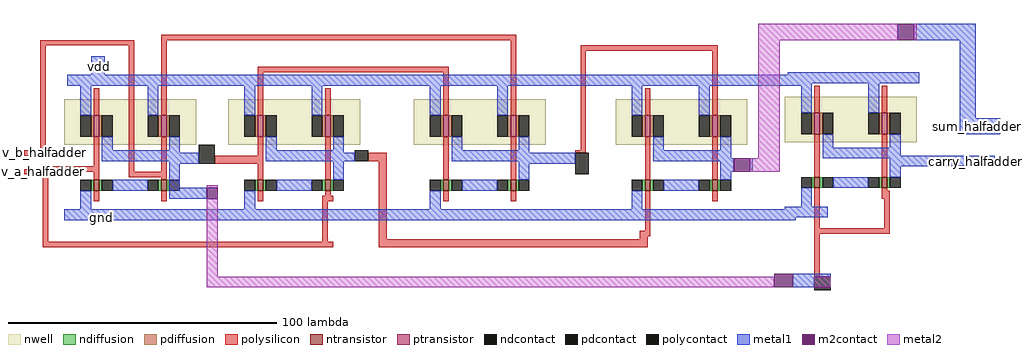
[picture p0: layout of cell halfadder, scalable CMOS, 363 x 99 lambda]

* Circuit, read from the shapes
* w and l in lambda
.subckt halfadder carry_halfadder gnd sum_halfadder v_a_halfadder v_b_halfadder vdd
M1 n1 v_a_halfadder gnd VSUBS nfet w=4 l=2
M2 nand_0/v_out_nand v_b_halfadder n1 VSUBS nfet w=4 l=2
M3 n2 nand_0/v_out_nand gnd VSUBS nfet w=4 l=2
M4 nand_1/v_out_nand v_a_halfadder n2 VSUBS nfet w=4 l=2
M5 n3 nand_0/v_out_nand gnd VSUBS nfet w=4 l=2
M6 nand_2/v_out_nand v_b_halfadder n3 VSUBS nfet w=4 l=2
M7 n4 nand_1/v_out_nand gnd VSUBS nfet w=4 l=2
M8 sum_halfadder nand_2/v_out_nand n4 VSUBS nfet w=4 l=2
M9 n5 nand_0/v_out_nand gnd VSUBS nfet w=4 l=2
M10 carry_halfadder nand_0/v_out_nand n5 VSUBS nfet w=4 l=2
M11 nand_0/v_out_nand v_a_halfadder vdd n6 pfet w=8 l=2
M12 nand_0/v_out_nand v_b_halfadder vdd n6 pfet w=8 l=2
M13 nand_1/v_out_nand nand_0/v_out_nand vdd n7 pfet w=8 l=2
M14 nand_1/v_out_nand v_a_halfadder vdd n7 pfet w=8 l=2
M15 nand_2/v_out_nand nand_0/v_out_nand vdd n8 pfet w=8 l=2
M16 nand_2/v_out_nand v_b_halfadder vdd n8 pfet w=8 l=2
M17 sum_halfadder nand_1/v_out_nand vdd n9 pfet w=8 l=2
M18 sum_halfadder nand_2/v_out_nand vdd n9 pfet w=8 l=2
M19 carry_halfadder nand_0/v_out_nand vdd n10 pfet w=8 l=2 m=2
.ends

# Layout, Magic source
magic
tech scmos
<< polysilicon >>
rect 25 72 157 74
rect -20 70 15 72
rect -20 31 -18 70
rect -26 29 -18 31
rect -19 24 2 25
rect -26 23 2 24
rect 13 23 15 70
rect 25 51 27 72
rect 61 60 132 62
rect 61 52 63 60
rect 130 52 132 60
rect 155 52 157 72
rect 181 68 232 70
rect 181 31 183 68
rect 230 52 232 68
rect 45 26 62 29
rect 179 30 183 31
rect 102 27 109 30
rect -26 22 -17 23
rect -19 -3 -17 22
rect 13 21 27 23
rect 85 12 89 14
rect 85 -3 87 12
rect 106 -2 109 27
rect 205 1 207 14
rect 203 -1 207 1
rect 268 2 270 16
rect 294 2 296 16
rect 268 0 296 2
rect 203 -2 206 -1
rect -19 -5 89 -3
rect 106 -5 206 -2
rect 268 -16 270 0
<< metal1 >>
rect 305 72 328 78
rect -1 56 4 66
rect 35 55 125 59
rect 165 55 201 59
rect 239 55 265 59
rect 322 43 328 72
rect 322 37 337 43
rect 29 26 39 30
rect 90 27 97 30
rect 161 26 179 30
rect 28 17 32 24
rect 235 23 238 28
rect 244 23 245 28
rect 297 25 335 29
rect 28 13 42 17
rect 1 5 261 9
rect 260 -16 274 -15
rect 260 -20 268 -16
<< metal2 >>
rect 247 72 299 78
rect 305 72 306 78
rect 247 28 255 72
rect 244 23 255 28
rect 42 17 46 18
rect 42 -16 46 13
rect 42 -20 253 -16
rect 268 -20 274 -16
<< polycontact >>
rect 39 26 45 33
rect 97 27 102 31
rect 179 22 184 30
rect 268 -21 274 -16
<< m2contact >>
rect 299 72 305 78
rect 238 23 244 28
rect 42 13 46 17
rect 253 -20 260 -15
use nand  nand_0
transform 1 0 -11 0 1 30
box 0 -25 50 29
use nand  nand_1
transform 1 0 50 0 1 30
box 0 -25 50 29
use nand  nand_2
transform 1 0 119 0 1 30
box 0 -25 50 29
use nand  nand_3
transform 1 0 194 0 1 30
box 0 -25 50 29
use nand  nand_4
transform 1 0 257 0 1 31
box 0 -25 50 29
<< labels >>
rlabel metal1 2 62 2 62 5 vdd
rlabel metal1 3 6 3 6 1 gnd
rlabel metal1 331 40 331 40 1 sum_halfadder
rlabel metal1 330 27 330 27 1 carry_halfadder
rlabel polysilicon -24 23 -24 23 3 v_a_halfadder
rlabel polysilicon -24 30 -24 30 3 v_b_halfadder
<< end >>

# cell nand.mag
magic
tech scmos
<< nwell >>
rect 0 3 49 20
<< polysilicon >>
rect 11 14 13 24
rect 36 14 38 24
rect 11 -10 13 6
rect 36 -10 38 6
rect 11 -18 13 -14
rect 36 -18 38 -14
<< ndiffusion >>
rect 10 -14 11 -10
rect 13 -14 14 -10
rect 35 -14 36 -10
rect 38 -14 39 -10
<< pdiffusion >>
rect 10 6 11 14
rect 13 6 14 14
rect 35 6 36 14
rect 38 6 39 14
<< metal1 >>
rect 1 25 50 29
rect 6 14 10 25
rect 31 14 35 25
rect 14 1 18 6
rect 39 1 43 6
rect 14 -3 43 1
rect 39 -10 43 -3
rect 18 -14 31 -10
rect 6 -21 10 -14
rect 0 -25 16 -21
<< ntransistor >>
rect 11 -14 13 -10
rect 36 -14 38 -10
<< ptransistor >>
rect 11 6 13 14
rect 36 6 38 14
<< ndcontact >>
rect 6 -14 10 -10
rect 14 -14 18 -10
rect 31 -14 35 -10
rect 39 -14 43 -10
<< pdcontact >>
rect 6 6 10 14
rect 14 6 18 14
rect 31 6 35 14
rect 39 6 43 14
<< labels >>
rlabel metal1 23 27 23 27 5 vdd
rlabel metal1 9 -23 9 -23 1 gnd
rlabel metal1 41 -2 41 -2 1 v_out_nand
<< end >>
